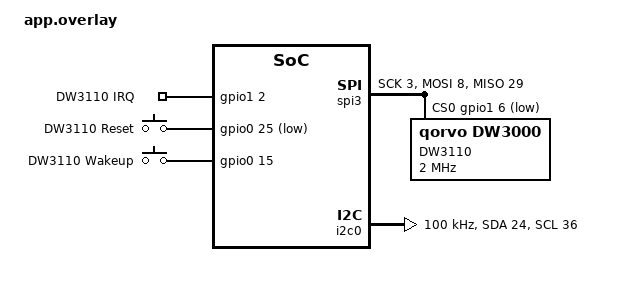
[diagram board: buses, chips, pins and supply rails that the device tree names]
/*
 * DWM3001C HAT — Devicetree Overlay
 *
 * Khai báo bus SPI3 tới DW3110 UWB transceiver (nội bộ module DWM3001C)
 * và các chân GPIO điều khiển: IRQ, Reset, Wakeup.
 *
 * Pin mapping (từ DWM3001C datasheet — đã xác nhận):
 *   SPI3 SCK   = P0.03
 *   SPI3 MOSI  = P0.08
 *   SPI3 MISO  = P0.29  (P0.29/AIN5 — NOT P0.06!)
 *   SPI3 CS    = P1.06
 *   DW_IRQ     = P1.02 (Active High, input with pull-down)
 *   DW_RST     = P0.25 (Active Low reset)
 *   DW_WAKEUP  = P0.15 (Active High)
 *
 * LED0 = P0.06 (KHÔNG xung đột với SPI3 — MISO thực tế là P0.29)
 */

/* ----------------------------------------------------------------
 * SPI3 — DW3110 UWB Transceiver
 * ----------------------------------------------------------------
 * Tần số SPI 2 MHz (conservative cho khởi tạo).
 * Trong production firmware có thể tăng lên 16-20 MHz sau PLL lock.
 */
&spi3 {
	compatible = "nordic,nrf-spim";
	status = "okay";
	sck-pin  = <3>;    /* P0.03 */
	mosi-pin = <8>;    /* P0.08 */
	miso-pin = <29>;   /* P0.29/AIN5 — per DWM3001C datasheet */
	cs-gpios = <&gpio1 6 GPIO_ACTIVE_LOW>;  /* P1.06 */

	dw3110: dw3110@0 {
		compatible = "qorvo,dw3000";
		reg = <0>;
		spi-max-frequency = <2000000>;
		label = "DW3110";
	};
};

/* ----------------------------------------------------------------
 * GPIO1 — cần bật (DW_IRQ trên P1.02, CS trên P1.06)
 * ---------------------------------------------------------------- */
&gpio1 {
	status = "okay";
};

/* Native SchDoc, module table: pads 14/15 = P0.24/P1.04. External pull-ups. */
&i2c0 {
    compatible = "nordic,nrf-twim";
    status = "okay";
    sda-pin = <24>;
    scl-pin = <36>;
    clock-frequency = <100000>;
};

/* ----------------------------------------------------------------
 * DW3110 Control Pins
 * ----------------------------------------------------------------
 * Khai báo dưới dạng gpio-keys để dễ truy cập qua DT API.
 * Firmware sẽ override direction (output cho RST/WAKEUP,
 * input cho IRQ) trong runtime code.
 */
/ {
	dw3110_ctrl {
		compatible = "gpio-keys";

		dw_irq: dw_irq {
			gpios = <&gpio1 2 (GPIO_ACTIVE_HIGH | GPIO_PULL_DOWN)>;
			label = "DW3110 IRQ";
		};

		dw_rst: dw_rst {
			gpios = <&gpio0 25 GPIO_ACTIVE_LOW>;
			label = "DW3110 Reset";
		};

		dw_wakeup: dw_wakeup {
			gpios = <&gpio0 15 GPIO_ACTIVE_HIGH>;
			label = "DW3110 Wakeup";
		};
	};

	aliases {
		dw-irq    = &dw_irq;
		dw-rst    = &dw_rst;
		dw-wakeup = &dw_wakeup;
	};
};
